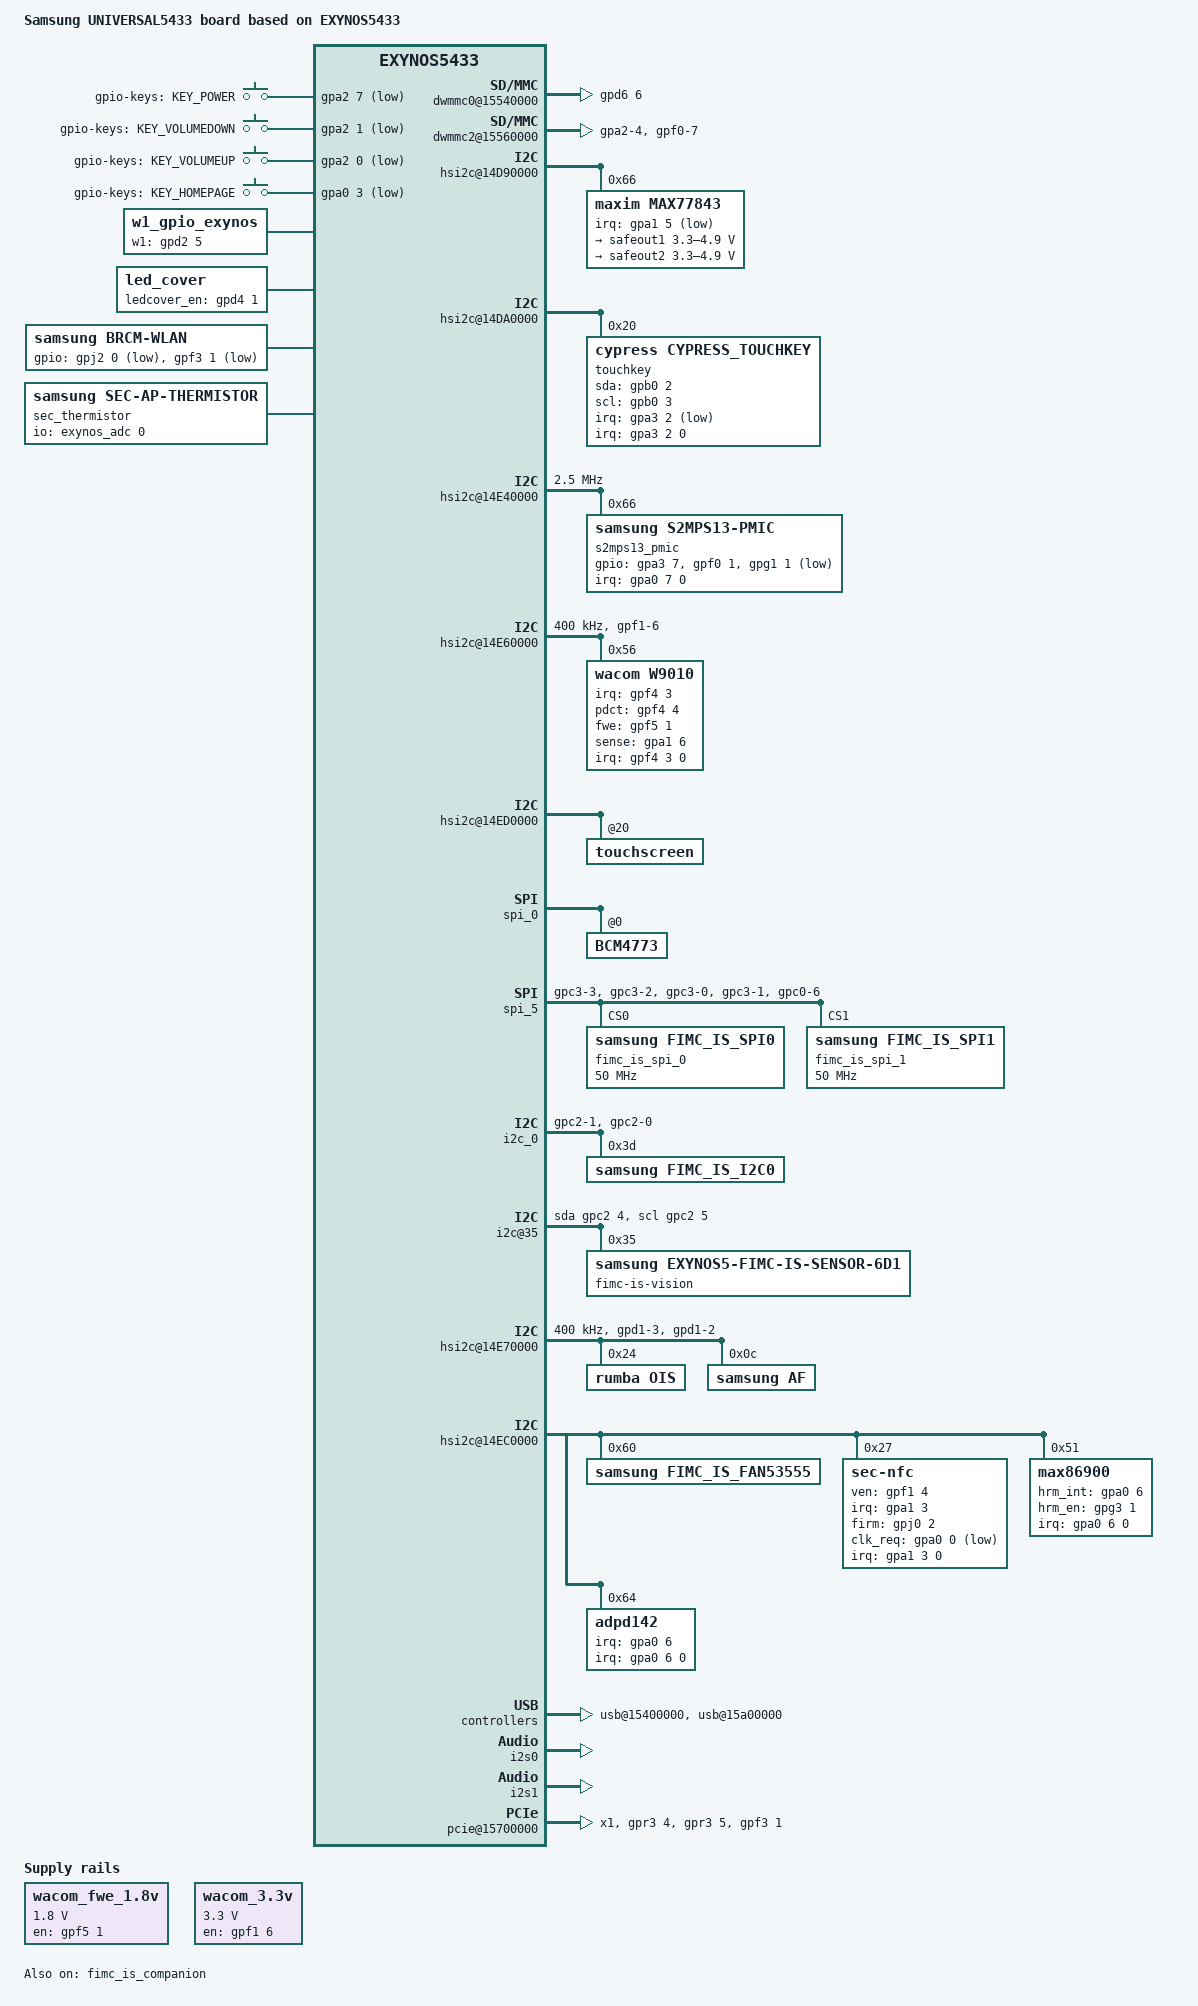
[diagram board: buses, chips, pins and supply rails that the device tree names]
/*
 * SAMSUNG UNIVERSAL5433 board device tree source
 *
 * Copyright (c) 2013 Samsung Electronics Co., Ltd.
 *		http://www.samsung.com
 *
 * This program is free software; you can redistribute it and/or modify
 * it under the terms of the GNU General Public License version 2 as
 * published by the Free Software Foundation.
*/

#include "exynos5433.dtsi"

/ {

	model = "Samsung UNIVERSAL5433 board based on EXYNOS5433";
	compatible = "samsung,UNIVERSAL5433", "samsung,exynos5433";

	aliases {
		spi0 = &spi_0;
		spi1 = &spi_1;
		spi2 = &spi_2;
		spi3 = &spi_3;
		spi4 = &spi_4;
		spi5 = &spi_5;
		spi6 = &spi_6;
	};

	chosen {
		bootargs = "console=ttySAC1,115200 vmalloc=256M";
	};

	fixed-rate-clocks {
		oscclk {
			compatible = "samsung,exynos5433-oscclk";
			clock-frequency = <24000000>;
		};
	};

	dwmmc0@15540000 {
		status = "okay";
		num-slots = <1>;
		broken-cd;
		bypass-smu;
		clock-gate;
		enable-cclk-on-suspend;
		fixed_volt;
		only_once_tune;
		supports-highspeed;
		supports-hs200-1-8v-mode;
		supports-ddr200-1-8v-mode;
		supports-ddr200-enhanced-strobe;
		supports-poweroff-notification;
		device-driver = <1>;
		enable-cache-control;
		enable-no-sleep-cmd;
		use-fine-tuning;
		use-enable-shift;
		enable-ulp-mode;
		ignore-phase = <(1 << 7 | 1 << 6)>;
		extra_tuning;
		bypass-for-allpass;
		desc-size = <4>;
		fifo-depth = <0x80>;
		qos_int_level = <400000>;
		use-enable-shift;
		card-detect-delay = <200>;
		samsung,dw-mshc-ddr200-delay-line = <0x40>;
		samsung,dw-mshc-ddr200-tx-delay-line = <0x30>;
		samsung,dw-mshc-txdt-crc-timer-fastlimit = <0x34>;
		samsung,dw-mshc-txdt-crc-timer-initval = <0x38>;
		samsung,dw-mshc-ciu-div = <3>;
		samsung,dw-mshc-sdr-timing = <3 0 2 0>;
		samsung,dw-mshc-sdr-hs-timing = <3 0 2 1>;
		samsung,dw-mshc-ddr-timing = <3 0 3 2>;
		samsung,dw-mshc-hs200-timing = <3 0 3 0>;
		samsung,dw-mshc-ddr200-timing = <1 0 3 0>;
		samsung,dw-mshc-ddr200-ulp-timing = <3 0 3 0>;
		clk_pin = "gpr0-0";
		clk_addr = "15690000.pinctrl";
		clk_val = <0x3>;
		clk_str_num = <6>;
		num-ref-clks = <10>;
		ciu_clkin = <25 50 50 100 200 100 200 400 400 200>;
		pinctrl-names = "default";
		pinctrl-0 = <&sd0_clk &sd0_cmd &sd0_rdqs &sd0_bus1 &sd0_bus4 &sd0_bus8>;
		gpios = <&gpd6 6 0>;
		slot@0 {
			reg = <0>;
			bus-width = <8>;
		};
	};

	dwmmc1@15550000 {
		status = "disabled";
		num-slots = <1>;
		fixed_volt;
		clock-gate;
		enable-cclk-on-suspend;
		only_once_tune;
		supports-highspeed;
		not-allow-single-dma;
		desc-size = <4>;
		fifo-depth = <0x40>;
		card-detect-delay = <200>;
		qos_int_level = <200000>;
		samsung,dw-mshc-ciu-div = <3>;
		samsung,dw-mshc-sdr-timing = <3 0 2 1>;
		samsung,dw-mshc-ddr-timing = <3 0 3 2>;
		num-ref-clks = <8>;
		ciu_clkin = <25 50 50 100 200 100 200 400>;
		pinctrl-names = "default";
		pinctrl-0 = <&sd1_clk &sd1_cmd &sd1_bus1 &sd1_bus4>;

		slot@0 {
			reg = <0>;
			bus-width = <4>;
		};
	};

	dwmmc2@15560000 {
		status = "okay";
		num-slots = <1>;
		bypass-smu;
		supports-highspeed;
		supports-sdr104-mode;
		clock-gate;
		enable-cclk-on-suspend;
		fix-fmp-size-mismatch;
		not-allow-single-dma;
		desc-size = <4>;
		use-fine-tuning;
		bypass-for-allpass;
		cd-type = <0>;
		fifo-depth = <0x40>;
		card-detect-delay = <200>;
		qos_int_level = <400000>;
		ignore-phase = <(1 << 7)>;
		samsung,dw-mshc-ciu-div = <3>;
		samsung,dw-mshc-sdr-timing = <3 0 2 1>;
		samsung,dw-mshc-ddr-timing = <3 0 3 2>;
		clk_pin = "gpr4-0";
		clk_addr = "15690000.pinctrl";
		clk_val = <0x2>;
		clk_str_num = <6>;
		num-ref-clks = <8>;
		ciu_clkin = <25 50 50 100 200 100 200 400>;
		pinctrl-names = "default", "output";
		pinctrl-0 = <&sd2_clk &sd2_cmd &sd2_bus1 &sd2_bus4 &dwmmc2_cd_ext_irq &dwmmc2_vmmc_en_gpio>;
		pinctrl-1 = <&sd2_clk_output &sd2_cmd_output &sd2_bus1 &sd2_bus4 &dwmmc2_cd_ext_irq &dwmmc2_vmmc_en_gpio>;

		gpio-controller;
		#gpio-cells = <2>;
		cd-gpio = <&gpa2 4 0xf>;

		vmmc-en-gpio = <&gpf0 7 0x1>;

		slot@0 {
			reg = <0>;
			bus-width = <4>;
			disable-wp;
		};
	};

	pinctrl@11090000 {
		dwmmc2_vmmc_en_gpio: dwmmc2-vmmc-en-gpio {
			samsung,pins = "gpf0-7";
			samsung,pin-function = <0x1>;
			samsung,pin-pud = <0>;
		};
	};

	pinctrl@10580000 {
		ok_sw: ok-sw {
			samsung,pins = "gpa0-3";
			samsung,pin-pud = <3>;
			samsung,pin-drv = <0>;
		};
		dwmmc2_cd_ext_irq: dwmmc2_cd_ext_irq {
			samsung,pins = "gpa2-4";
			samsung,pin-function = <0xf>;
			samsung,pin-pud = <0>;
			samsung,pin-drv = <0>;
		};
		pmic_irq: pmic-irq {
			samsung,pins = "gpa0-7";
			samsung,pin-pud = <0>;
			samsung,pin-drv = <3>;
		};
		/* Warm reset information from AP */
		pm_wrsti: pm-wrsti {
			samsung,pins = "gpf5-4";
			samsung,pin-pud = <0>;
			samsung,pin-con-pdn = <3>;
		};

		gpa3_pull_up: gpa3_pull_up_for_smpl {
			samsung,pins = "gpa3-7";
			samsung,pin-function = <0xf>;
			samsung,pin-pud = <3>;
			samsung,pin-drv = <0>;
		};

		ssp_irq: ssp-irq {
			samsung,pins = "gpa3-3";
			samsung,pin-function = <0xf>;
			samsung,pin-pud = <1>;
			samsung,pin-drv = <3>;
		};

		ssp_mcu_req: ssp-mcu-req {
			samsung,pins = "gpf2-3";
			samsung,pin-function = <1>;
			samsung,pin-pud = <1>;
			samsung,pin-drv = <3>;
		};

		ssp_mcu_resp: ssp-mcu-resp {
			samsung,pins = "gpf2-2";
			samsung,pin-function = <0>;
			samsung,pin-pud = <3>;
			samsung,pin-drv = <3>;
		};

		ssp_host_wake: ssp-host-wake {
			samsung,pins = "gpa1-0";
			samsung,pin-function = <0>;
			samsung,pin-pud = <3>;
			samsung,pin-drv = <3>;
		};

		ssp_host_wake_irq: ssp-host-wake-irq {
			samsung,pins = "gpa1-0";
			samsung,pin-function = <0xf>;
			samsung,pin-pud = <1>;
			samsung,pin-drv = <3>;
		};
	};

	pinctrl@14CC0000 {
		ssp_gps_pwr_en: ssp-gps-pwr-en {
			samsung,pins = "gpg2-0";
			samsung,pin-function = <1>;
			samsung,pin-pud = <1>;
			samsung,pin-drv = <3>;
		};
	};

	gpio_keys {
		compatible = "gpio-keys";
		#address-cells = <1>;
		#size-cells = <0>;
		pinctrl-names = "default";
		pinctrl-0 = <&ok_sw>;
		button@1 {
			label = "gpio-keys: KEY_POWER";
			interrupts = <7 0 0>;
			interrupt-parent = <&gpa2>;
			linux,code = <116>;
			gpios = <&gpa2 7 0xf>;
			gpio-key,wakeup = <1>;
		};
		button@2 {
			label = "gpio-keys: KEY_VOLUMEDOWN";
			interrupts = <1 0 0>;
			interrupt-parent = <&gpa2>;
			linux,code = <114>;
			gpios = <&gpa2 1 0xf>;
		};
		button@3 {
			label = "gpio-keys: KEY_VOLUMEUP";
			interrupts = <0 0 0>;
			interrupt-parent = <&gpa2>;
			linux,code = <115>;
			gpios = <&gpa2 0 0xf>;
		};
		button@4 {
			label = "gpio-keys: KEY_HOMEPAGE";
			interrupts = <3 0 0>;
			interrupt-parent = <&gpa0>;
			linux,code = <172>;
			gpios = <&gpa0 3 0xf>;
			gpio-key,wakeup = <1>;
		};
	};

	pinctrl@10580000 {
		fuel_irq: fuel-irq {
			samsung,pins = "gpa1-5";
			samsung,pin-function = <0>;
			samsung,pin-pud = <0>;
			samsung,pin-drv = <0>;
		};
		wc_irq: wc-irq {
			samsung,pins = "gpa3-5";
			samsung,pin-function = <0>;
			samsung,pin-pud = <0>;
			samsung,pin-drv = <0>;
		};
	};

	pinctrl@14CC0000 {
		/* touchkey i2c*/
		cfg_i2c: cfg-i2c {
			samsung,pins = "gpb0-3", "gpb0-2";
			samsung,pin-function = <4>;
			samsung,pin-pud = <0>;
			samsung,pin-drv = <0>;
		};
		cfg_gpio: cfg_gpio {
			samsung,pins = "gpb0-3", "gpb0-2";
			samsung,pin-function = <0>;
			samsung,pin-pud = <0>;
			samsung,pin-drv = <0>;
		};
	};

	pinctrl@10580000 {
		/* touchkey interrupt*/
		cfg_irq: cfg-irq {
			samsung,pins = "gpa3-2";
			samsung,pin-function = <0xf>;
			samsung,pin-pud = <0>;
			samsung,pin-drv = <0>;
		};
		cfg_input: cfg-input {
			samsung,pins = "gpa3-2";
			samsung,pin-function = <0>;
			samsung,pin-pud = <1>;
			samsung,pin-drv = <0>;
		};
	};

	pinctrl@14CE0000 {
		hs_i2c5_bus: hs-i2c5-bus {
			samsung,pins = "gpj1-1", "gpj1-0";
			samsung,pin-function = <4>;
			samsung,pin-pud = <0>;
			samsung,pin-drv = <0>;
			samsung,pin-con-pdn = <2>;
			samsung,pin-pud-pdn = <1>;
		};
	};

	hsi2c@14D90000 {
		max77843@66 {
			compatible = "maxim,max77843";
			reg = <0x66>;
			pinctrl-names = "default";
			pinctrl-0 = <&fuel_irq &vibetonz_pwm &wc_irq>;
			max77843,irq-gpio = <&gpa1 5 1>;
			max77843,wakeup;

			regulators {
				safeout1: ESAFEOUT1 {
					regulator-compatible = "safeout1";
					regulator-name = "safeout1_range";
					regulator-min-microvolt = <3300000>;
					regulator-max-microvolt = <4900000>;
					regulator-boot-on;
				};

				safeout2: ESAFEOUT2 {
					regulator-compatible = "safeout2";
					regulator-name = "safeout2_range";
					regulator-min-microvolt = <3300000>;
					regulator-max-microvolt = <4900000>;
				};
			};
		};
	};

	haptic {
		status = "okay";
		haptic,max_timeout = <10000>;
		haptic,duty = <32448>;
		haptic,period = <33814>;
		haptic,reg2 = <0x82>;
		haptic,pwm_id = <0>;
		haptic,regulator_name = "VCC_3.0V_MOTOR_AP";
	};

	rgb {
		rgb-name = "led_w", "led_r", "led_g", "led_b";
	};

	hall {
		status = "okay";
		compatible = "hall";
		pinctrl-names = "default";
		pinctrl-0 = <&hall_irq>;
		hall,gpio_flip_cover = <&gpa0 1 0>;
	};

	pinctrl@14CC0000 {
		w1_gpio: w1-gpio {
			samsung,pins = "gpd2-5";
			samsung,pin-function = <0>;
			samsung,pin-pud = <0>;
			samsung,pin-drv = <0>;
		};
	};

	w1_gpio_exynos {
		status = "okay";
		compatible = "w1_gpio_exynos";
		pinctrl-names = "default";
		pinctrl-0 = <&w1_gpio>;
		is_open_drain = <1>;
		slave_speed = <1>;
		register_addr = <0x14CC0120>;
		register_num = <5>;
		w1,gpio = <&gpd2 5 0>;
	};

	led_cover {
		compatible = "led_cover";
		ledcover_en,gpio = <&gpd4 1 0>;
	};

	usb_notifier {
		compatible = "samsung,usb-notifier";
	};

	muic {
		status = "disabled";
		muic,support-list = "MHL","OTG","Charging Cable","Jig USB On","Jig UART Off",
				    "Jig UART Off + VB","Jig UART On",
				    "TA","USB","CDP","Undefined Charging",
				    "Unofficial ID","Unofficial ID + TA","Unofficial ID + ANY TA",
				    "Unofficial ID + USB","Unofficial ID + CDP",
				    "Deskdock","Deskdock + VB",
				    "Smartdock","Smartdock + VB","Smartdock + TA","Smartdock + USB",
				    "Fuelgauge test","HMT";
		muic,afcmode-tx = /bits/ 8 <0x46>;
		muic,qc-hv = /bits/ 8 <0x9>;
	};

	hsi2c@14DA0000 {
		status = "okay";
		pinctrl-names = "default","on_i2c","off_i2c";
		pinctrl-0 = <&hs_i2c9_bus>;
		pinctrl-1 = <&cfg_i2c>;
		pinctrl-2 = <&cfg_gpio>;
		touchkey@20 {
			pinctrl-names = "on_irq","off_irq";
			pinctrl-0 = <&cfg_irq>;
			pinctrl-1 = <&cfg_input>;
			compatible = "cypress,cypress_touchkey";
			reg = <0x20>;
			interrupts = <2 0 0>;
			interrupt-parent = <&gpa3>;
			cypress,sda-gpio = <&gpb0 2 0>;
			cypress,scl-gpio = <&gpb0 3 0>;
			cypress,irq-gpio = <&gpa3 2 1>;
			cypress,ic-stabilizing-time = <150>;
			cypress,boot-on-ldo = "true";
			cypress,multi-touchkey-fw-version = <0x11>;
		};
	};

	hsi2c@14E40000 {
		status = "okay";
		samsung,hs-mode;
		clock-frequency = <2500000>;

		s2mps13_pmic@66 {
			compatible = "samsung,s2mps13-pmic";
			reg = <0x66>;
			interrupts = <7 0 0>;
			interrupt-parent = <&gpa0>;
			gpios = <&gpa3 7 0>, <&gpf0 1 0x0>, <&gpg1 1 0x1>;
			smpl_warn_vth = <0x00>; /* 2.3V */
			smpl_warn_en = <1>; /* 1 : enable , 0 : disable*/
			g3d_en = <0>; /* 1 : enable , 0 : disable */
			dvs_en = <1>; /* 1 : enable , 0 : disable */
			/* RTC: wtsr/smpl */
			wtsr_en = <1>; /* enable */
			smpl_en = <1>; /* enable */
			wtsr_timer_val = <3>;	/* 1000ms */
			smpl_timer_val = <4>;	/* 500ms */
			check_jigon = <0>; /* do not check jigon */
			/* RTC: If it's first boot, reset rtc to 1/1/2014 12:00:00(Wed) */
			init_time,sec = <0>;
			init_time,min = <0>;
			init_time,hour = <12>;
			init_time,mday = <1>;
			init_time,mon = <0>;
			init_time,year = <114>;
			init_time,wday = <3>;
		};
	};

	pinctrl@10580000 {
		epen_irq: epen-irq {
			samsung,pins = "gpf4-3", "gpf4-4";
			samsung,pin-function = <0xf>;
			samsung,pin-pud = <0>;
			samsung,pin-drv = <0>;
		};
		epen_input: epen-input {
			samsung,pins = "gpf4-3", "gpf4-4";
			samsung,pin-function = <0>;
			samsung,pin-pud = <1>;
			samsung,pin-drv = <0>;
		};
		epen_sense: epen-sense {
			samsung,pins = "gpa1-6";
			samsung,pin-function = <0xf>;
			samsung,pin-pud = <0>;
			samsung,pin-drv = <0>;
		};
		epen_ldo: epen-ldo {
			samsung,pins = "gpf1-6";
			samsung,pin-function = <1>;
			samsung,pin-pud = <0>;
			samsung,pin-drv = <0>;
		};
		hall_irq: hall-irq {
			samsung,pins = "gpa0-1";
			samsung,pin-function = <0xf>;
			samsung,pin-pud = <0>;
			samsung,pin-drv = <0>;
		};

		hrm_int: hrm-int {
			samsung,pins = "gpa0-6";
			samsung,pin-function = <0>;
			samsung,pin-pud = <0>;
			samsung,pin-drv = <3>;
		};
	};

	wacom_fwe_en {
		compatible = "regulator-fixed";
		regulator-name = "wacom_fwe_1.8v";
		regulator-min-microvolt = <1800000>;
		regulator-max-microvolt = <1800000>;
		gpio = <&gpf5 1 0>;
		enable-active-high;
	};
	wacom_ldo_en {
		compatible = "regulator-fixed";
		regulator-name = "wacom_3.3v";
		regulator-min-microvolt = <3300000>;
		regulator-max-microvolt = <3300000>;
		gpio = <&gpf1 6 0>;
		enable-active-high;
		regulator-boot-on;
	};

	pinctrl@14CC0000 {
		epen_gpio: epen-gpio {
			samsung,pins = "gpd0-3", "gpd0-2";
			samsung,pin-function = <0>;
			samsung,pin-pud = <0>;
			samsung,pin-drv = <0>;
		};
	};

	hsi2c@14E60000 {
		clock-frequency = <400000>;
		status = "okay";
		samsung,scl-clk-stretching;
		samsung,transfer_delay = <50>;
		pinctrl-names = "default", "epen_gpio";
		pinctrl-0 = <&hs_i2c2_bus &epen_ldo>;
		pinctrl-1 = <&epen_gpio>;
		wacom@56 {
			compatible = "wacom,w9010";
			reg = <0x56>;
			pinctrl-names = "on_irq", "off_state";
			pinctrl-0 = <&epen_irq &epen_sense>;
			pinctrl-1 = <&epen_input>;
			interrupts = <3 0 0>;
			interrupt-parent = <&gpf4>;
			/* gpios */
			wacom,irq-gpio = <&gpf4 3 0>;
			wacom,pdct-gpio = <&gpf4 4 0>;
			wacom,fwe-gpio = <&gpf5 1 0>;
			wacom,sense-gpio = <&gpa1 6 0>;
			wacom,irq_type = <2>;	/*IRQF_TRIGGER_FALLING*/
			/* features */
			wacom,max_coords = <12544 7056>;
			wacom,origin = <0 0>;
			wacom,max_pressure = <2047>;
			wacom,project_name = "TRE", "N910";
			wacom,invert = <1 0 1>; /* x y switch */
			wacom,fw_path = "epen/W9012_T.bin";
			wacom,ic_type = <9012>;
			wacom,boot_on_ldo = <1>;
		};
	};
	i2c@09 {
		compatible = "i2c-gpio";
		gpios = <&gpd0 2 0 &gpd0 3 0>;
		i2c-gpio,delay-us = <2>;
		#address-cells = <1>;
		#size-cells = <0>;
		status = "disabled";
		wacom@09 {
			compatible = "wacom,flash";
			reg = <0x09>;
			interrupts = <3 0 0>;
			interrupt-parent = <&gpf4>;
		};
	};

	hsi2c@14ED0000 {
		status = "okay";
		touchscreen@20 {
			stm,grip_area = <160>;
		};
	};

	ion {
		compatible = "samsung,exynos5430-ion";

		contig-names = "common",
			       "video_ext",
			       "mfc_sh",
			       "g2d_wfd",
			       "video",
			       "sectbl",
			       "mfc_fw",
			       "mfc_nfw",
			       "secdma";

		contig = <0 0x600000 0x0>,
		         <1 0x600000 0x0>,
		         <2 0x100000 0x0>,
		         <10 0x800000 0x0>,
		         <11 0xA800000 0x0>,
		         <9 0x100000 0x0>,
		         <8 0x200000 0x0>,
		         <12 0x200000 0x0>,
		         <13 0x20000 0x0>;

		contig-isolate_on_boot = <0>, <1>, <2>, <8>,
					  <9>, <10>, <11>, <12>, <13>;

		secure = <11>, <9>, <8>, <1>;

		ion_noncontig_heap {
			id-type = <0 0>;
		};

		exynos_contig_heap {
			id-type = <4 6>;
		};
	};

	pinctrl@10580000 {
		disp_pcd: disp_pcd {
			samsung,pins = "gpa0-5";
			samsung,pin-function = <0xf>;
			samsung,pin-pud = <1>;
		};
		disp_id: disp_id {
			samsung,pins = "gpf2-1";
			samsung,pin-function = <0>;
			samsung,pin-pud = <1>;
		};
	};

	pinctrl@14CC0000 {
		disp_errfg: disp_errfg {
			samsung,pins = "gpb0-4";
			samsung,pin-function = <0xf>;
			samsung,pin-pud = <1>;
		};
		disp_errfg_off: disp_errfg_off {
			samsung,pins = "gpb0-4";
			samsung,pin-function = <1>;
			samsung,pin-pud = <1>;
			samsung,pin-val = <0>;
		};
	};

	/* disp_driver */
	decon_fb: decon_fb {
		oled-id-gpio = <&gpf2 1 0x0>;
		oled-pcd-gpio = <&gpa0 5 0xf>;
		oled-errfg-gpio = <&gpb0 4 0xf>;
		lcd_info = <&s6e3ha2>;
		decon_board = <&decon_board_list>;

		pinctrl-names = "default", "turnon_tes", "turnoff_tes", "errfg_off";
		pinctrl-0 = <&disp_id &disp_pcd &disp_errfg>;
		pinctrl-1 = <&disp_id &disp_pcd &disp_errfg &disp_teson>;
		pinctrl-2 = <&disp_id &disp_tesoff>;
		pinctrl-3 = <&disp_id &disp_pcd &disp_errfg_off &disp_teson>;
		decon: decon_ctrl {
			samsung,max_bpp = <32>;
			samsung,default_bpp = <24>;

			fb_driver_data {
				fb_win_variant_0 {
					has_osd_c = <1>;
					has_osd_d = <1>;
					osd_size_off = <0x08>;
					palette_size = <256>;
					VALID_BPP_1248 = <1>;
					VALID_BPP_13 = <1>;
					VALID_BPP_15 = <1>;
					VALID_BPP_16 = <1>;
					VALID_BPP_18 = <1>;
					VALID_BPP_19 = <1>;
					VALID_BPP_24 = <1>;
					VALID_BPP_25 = <1>;
					VALID_BPP_32 = <1>;
				};
				fb_win_variant_1 {
					has_osd_c = <1>;
					has_osd_d = <1>;
					has_osd_alpha = <1>;
					osd_size_off = <0x0c>;
					palette_size = <256>;
					VALID_BPP_1248 = <1>;
					VALID_BPP_13 = <1>;
					VALID_BPP_15 = <1>;
					VALID_BPP_16 = <1>;
					VALID_BPP_18 = <1>;
					VALID_BPP_19 = <1>;
					VALID_BPP_24 = <1>;
					VALID_BPP_25 = <1>;
					VALID_BPP_32 = <1>;
				};
				fb_win_variant_2 {
					has_osd_c = <1>;
					has_osd_d = <1>;
					has_osd_alpha = <1>;
					osd_size_off = <0x0c>;
					palette_size = <256>;
					VALID_BPP_1248 = <1>;
					VALID_BPP_13 = <1>;
					VALID_BPP_15 = <1>;
					VALID_BPP_16 = <1>;
					VALID_BPP_18 = <1>;
					VALID_BPP_19 = <1>;
					VALID_BPP_24 = <1>;
					VALID_BPP_25 = <1>;
					VALID_BPP_32 = <1>;
				};
				fb_win_variant_3 {
					has_osd_c = <1>;
					has_osd_alpha = <1>;
					palette_size = <256>;
					VALID_BPP_1248 = <1>;
					VALID_BPP_13 = <1>;
					VALID_BPP_15 = <1>;
					VALID_BPP_16 = <1>;
					VALID_BPP_18 = <1>;
					VALID_BPP_19 = <1>;
					VALID_BPP_24 = <1>;
					VALID_BPP_25 = <1>;
					VALID_BPP_32 = <1>;
				};
				fb_win_variant_4 {
					has_osd_c = <1>;
					has_osd_alpha = <1>;
					palette_size = <256>;
					VALID_BPP_1248 = <1>;
					VALID_BPP_13 = <1>;
					VALID_BPP_15 = <1>;
					VALID_BPP_16 = <1>;
					VALID_BPP_18 = <1>;
					VALID_BPP_19 = <1>;
					VALID_BPP_24 = <1>;
					VALID_BPP_25 = <1>;
					VALID_BPP_32 = <1>;
				};
			};
		};

		mipi_dsi: mipi_dsi {
			/* Interface definition: 0 - DSIM_COMMAND,
						 1 - DSIM_VIDEO */
			e_interface = <0>;

			/* Pixel format : 0 - DSIM_CMD_3BPP,
					  1 - DSIM_CMD_8BPP,
					  2 - DSIM_CMD_12BPP,
					  3 - DSIM_CMD_16BPP,
					  4 - DSIM_VID_16BPP_565,
					  5 - DSIM_VID_18BPP_666PACKED,
					  6 - DSIM_18BPP_666LOOSELYPACKED,
					  7 - DSIM_24BPP_888 */
			e_pixel_format = <7>;

			/* main frame fifo auto flush at VSYNC pulse */
			auto_flush = <0>;
			eot_disable = <1>;
			auto_vertical_cnt = <0>;
			hse = <0>;
			hfp = <0>;
			hbp = <0>;
			hsa = <0>;

			/* num of data lane : 0 - DSIM_DATA_LANE_1,
					      1 - DSIM_DATA_LANE_2,
					      2 - DSIM_DATA_LANE_3,
					      3 - DSIM_DATA_LANE_4 */
			e_no_data_lane = <3>;
			/* byte clock divider : 0 - DSIM_PLL_OUT_DIV8,
						1 - DSIM_EXT_CLK_DIV8,
						2 - DSIM_EXT_CLK_BYPASS */
			e_byte_clk = <0>;
			/* Burst mode : 0 - DSIM_NON_BURST_SYNC_EVENT,
					2 - DSIM_NON_BURST_SYNC_PULSE,
					1 - DSIM_BURST
					4 - DSIM_NON_VIDEO_MODE */
			e_burst_mode = <1>;

			/* D-PHY PLL stable time spec :min = 200usec ~ max 400usec */
			pll_stable_time = <500>;
			/* escape clk : 7MHz */
			esc_clk = <7000000>;
			/* stop state holding counter after bta change count 0 ~ 0xfff */
			stop_holding_cnt = <0x0fff>;
			/* bta timeout 0 ~ 0xff */
			bta_timeout = <0xff>;
			/* lp rx timeout 0 ~ 0xffff */
			rx_timeout = <0xffff>;
		};
		decon_mic: decon_mic {
			sysreg1 = <0x13B81004>;
			sysreg2 = <0x13B81048>;
		};
		s6e3ha2: s6e3ha2_wqhd {
			mode = <0>;
			resolution = <1440 2560>;
			size = <71 125>;
			timing,refresh = <60>;
			timing,h-porch = <1 1 1>;
			timing,v-porch = <15 1 1>;
			timing,dsi-hs-clk = <1024>;
			timing,dsi-escape-clk = <16>;
			timing,hsync-2h-cycle = <1>;
			mic = <1>;
		};

		decon_board_list: decon_board_list {
			enable_display_driver_power {
				type = "regulator,enable", "gpio,high", "regulator,enable", "delay,usleep", "pinctrl,default", "pinctrl,turnon_tes";
				gpios = <&gpf1 5 0x1>;
				delay = <10000 11000>;
				regulator = "VCC_1.8V_LCD_AP", "VCC_3.0V_LCD_AP";
			};
			disable_display_driver_power {
				type = "gpio,low", "regulator,disable", "gpio,low", "delay,usleep", "regulator,disable", "pinctrl,turnoff_tes";
				gpios = <&gpv7 2 0x1>, <&gpf1 5 0x1>;
				delay = <3000 5000>;
				regulator = "VCC_3.0V_LCD_AP", "VCC_1.8V_LCD_AP";
			};
			reset_display_driver_panel {
				type = "gpio,high", "delay,usleep", "gpio,low", "delay,usleep", "gpio,high", "delay,usleep";
				gpios = <&gpv7 2 0x1>, <&gpv7 2 0x1>, <&gpv7 2 0x1>;
				delay = <5000 6000>, <5000 6000>, <10000 11000>;
			};
		};
	};

	spi_0: spi@14d20000 {
		BCM4773@0 {
			ssp,prox-cal_hi_thresh = <120>;
			ssp,prox-cal_low_thresh = <55>;
		};
	};

	spi_5: spi@141a0000 {
		clocks = <&clock 2626>, <&clock 4083>; /* Workaround for SPI read in A5 */
		clock-names = "spi", "spi_busclk0";    /* Must be removed later */
		#address-cells = <1>;
		#size-cells = <0>;
		pinctrl-names ="default";
		pinctrl-0 = <&fimc_is_spi_pin0 &fimc_is_spi_ssn0>;

		num-cs = <2>;

		fimc_is_spi_0@0 {
			compatible = "samsung,fimc_is_spi0";
			spi-max-frequency = <50000000>;
			reg = <0x0>;

			controller-data {
				cs-gpio = <&gpc0 6 0>;
				samsung,spi-feedback-delay = <2>;
			};
		};

		fimc_is_spi_1@1 {
			compatible = "samsung,fimc_is_spi1";
			fimc_is_spi_sclk = "gpc3-0";
			fimc_is_spi_ssn = "gpc3-1";
			fimc_is_spi_miso = "gpc3-2";
			fimc_is_spi_mois = "gpc3-3";
			spi-max-frequency = <50000000>;
			reg = <0x1>;
			pinctrl-names = "default";
			pinctrl-0 = <&fimc_is_comp_int>;

			controller-data {
				cs-gpio = <&gpc3 1 0>;
				samsung,spi-feedback-delay = <3>;
			};
		};
	};

	spi_6: spi@141b0000 {
		status = "disabled";
	};

	i2c_0: i2c@14130000 {
            compatible = "samsung,exynos5430-fimc-i2c";
            reg = <0x14130000 0x1000>;
            interrupts = <0 166 0>; /* NON */
            #address-cells = <1>;
            #size-cells = <0>;
            pinctrl-names = "default";
            pinctrl-0 = <&fimc_is_i2c_0>;
            clocks = <&clock 4184>, <&clock 4184>; /* No clock gating */
            clock-names = "rate_i2c","gate_i2c";
            samsung,i2c-sda-delay = <100>;
            samsung,i2c-max-bus-freq = <400000>;
            status = "okay";

            fimc_is_i2c0@3d {
                    compatible = "samsung,fimc_is_i2c0";
                    reg = <0x3d>;
            };
    };

	i2c@35{
		compatible = "i2c-gpio";
		gpios = <&gpc2 4 0 /* sda */
		         &gpc2 5 0 /* scl */
		        >;
		i2c-gpio,delay-us = <2>;
		#address-cells = <1>;
		#size-cells = <0>;
		status = "okay";

		fimc-is-vision@35 {
			compatible = "samsung,exynos5-fimc-is-sensor-6d1";
			reg = <0x35>;
		};
	};

	hsi2c@14E70000 {
		status = "okay";
		clock-frequency = <400000>;
		pinctrl-names = "default","on_i2c","off_i2c";
		pinctrl-0 = <&fimc_is_hsi2c_off>;
		pinctrl-1 = <&fimc_is_ois_hsi2c_on>;
		pinctrl-2 = <&fimc_is_hsi2c_off>;
		ois@24{
			compatible = "rumba,ois";
			reg = <0x24>;
		};

		af@0c{
			compatible = "samsung,af";
			reg = <0x0c>;
		};
	};

	hsi2c@14EC0000 {
		status = "okay";
		fimc_is_fan53555@60 {
			compatible = "samsung,fimc_is_fan53555";
			reg = <0x60>;
			comp_en = <&gpf1 7 0x01>;
			status = "okay";
		};
		sec-nfc@27 {
			compatible = "sec-nfc";
			reg = <0x27>;

			interrupts = <3 0 0>;
			interrupt-parent = <&gpa1>;

			sec-nfc,ven-gpio = <&gpf1 4 0>;
			sec-nfc,irq-gpio = <&gpa1 3 0>;
			sec-nfc,firm-gpio = <&gpj0 2 0>;
			sec-nfc,clk_req-gpio = <&gpa0 0 0xf>;
			sec-nfc,clk_use = <2>;
			pinctrl-names = "default";
			pinctrl-0 = <&fimc_is_ch1_mclk &nfc_n5_en>;
			clock-names = "sclk_isp_sensor1",
						"mout_sclk_isp_sensor1",
						"dout_sclk_isp_sensor1_a",
						"dout_sclk_isp_sensor1_b",
						"gate_top_cam1";
			clocks = <&clock 34>,
					<&clock 3067>,
					<&clock 4092>,
					<&clock 4093>,
					<&clock 2780>;
		};
		max86900@51 {
			compatible = "max86900";
			reg = <0x51>;
			interrupt-parent = <&gpa0>;
			interrupts = <6 0 0>;
			max86900,hrm_int-gpio = <&gpa0 6 0>;
			max86900,vdd_1p8 = "V_HRM_1.8V";
			max86900,led_3p3 = "V_IRLED_3.3V";
			max86900,hrm_en-gpio = <&gpg3 1 0>;
			max86900,dual-hrm = <1>;
		};

		adpd142@64 {
			compatible = "adpd142";
			reg = <0x64>;
			interrupt-parent = <&gpa0>;
			interrupts = <6 0 0>;
			adpd142,irq_gpio = <&gpa0 6 0>;
			adpd142,led_en = <&gpg3 1 0>;
			adpd142,vdd_1p8 = "V_HRM_1.8V";
			adpd142,led_3p3 = "V_IRLED_3.3V";
			adpd142,dual-hrm = <1>;
		};
	};

	/* Companion driver */
	fimc_is_companion: fimc_is_companion@14180000 {
		compatible = "samsung,exynos5-fimc-is-companion";
		samsung,power-domain = <&pd_cam1>;
		clock-names =
			/* SENSOR0 MCLK */
			"sclk_isp_sensor0",		/* 33 */
			"mout_sclk_isp_sensor0",	/* 3066 */
			"dout_sclk_isp_sensor0_a",	/* 4090 */
			"dout_sclk_isp_sensor0_b",	/* 4091 */

			"mout_bus_pll_user",		/* 3010 */
			"oscclk",			/* 5000 */

			/* SPI-ISP */
			"sclk_isp_spi0_top",		/* 30 */
			"sclk_isp_spi1_top",		/* 31 */
			"mout_sclk_isp_spi0",		/* 3063 */
			"mout_sclk_isp_spi1",		/* 3064 */

			"gate_isp_spi1",		/* 2625 */
			"gate_isp_spi0",		/* 2626 */
			"dout_sclk_isp_spi0_a",		/* 4080 */
			"dout_sclk_isp_spi0_b",		/* 4081 */
			"dout_sclk_isp_spi1_a",		/* 4082 */
			"dout_sclk_isp_spi1_b",		/* 4083 */

			"mout_sclk_isp_spi0_user",	/* 3180 */
			"mout_sclk_isp_spi1_user",	/* 3181 */

			/* CMU TOP */
			"dout_aclk_cam1_333",		/* 4047 */

			/* USER_MUX_SEL */
			"aclk_cam1_333",		/* 342 */
			"mout_aclk_cam1_333_user",	/* 3225 */

			/* MPWM */
			"dout_pclk_cam1_166",		/* 4183 */
			"dout_pclk_cam1_83",		/* 4184 */
			"dout_sclk_isp_mpwm";		/* 4185 */
		clocks =
			/* SENSOR0 MCLK */
			<&clock 33>,
			<&clock 3066>,
			<&clock 4090>,
			<&clock 4091>,

			<&clock 3010>,
			<&clock 5000>,

			/* SPI-ISP */
			<&clock 30>,
			<&clock 31>,
			<&clock 3063>,
			<&clock 3064>,

			<&clock 2625>,
			<&clock 2626>,
			<&clock 4080>,
			<&clock 4081>,
			<&clock 4082>,
			<&clock 4083>,

			<&clock 3180>,
			<&clock 3181>,

			/* CMU TOP */
			<&clock 4047>,

			/* USER_MUX_SEL */
			<&clock 342>,
			<&clock 3225>,

			/* MPWM */
			<&clock 4183>,
			<&clock 4184>,
			<&clock 4185>;
		pinctrl-names ="default", "ch0", "af0", "off0";
		pinctrl-0 = <&fimc_is_ch0_mclk_off>;
		pinctrl-1 = <&fimc_is_ch0_mclk>;
		pinctrl-2 = <&fimc_is_ch0_mclk>;
		pinctrl-3 = <&fimc_is_ch0_mclk_off>;

		scenario = <0>;
		mclk_ch = <0>;
		sensor_id = <104>;

		gpios_cam_en = <&gpf4 7 0x1>;
		gpio_reset = <&gpc0 4 0x1>;
		gpios_comp_en = <&gpf1 7 0x1>; /* COMP_EN */
		gpios_comp_reset = <&gpf5 7 0x1>; /* COMP_rstn */
		gpios_ois_en = <&gpf4 6 0>; /*OIS_EN*/

		status = "okay";
	};

	fimc_is_sensor0: fimc_is_sensor@12100000 {
		scenario = <0>;
		gpio_reset = <&gpc0 4 0x1>;
		id = <0>;
		mclk_ch = <0>;
		csi_ch = <0>;
		flite_ch = <0>;
		i2c_ch = <0x010100>;
		i2c_addr = <0x483434>;
		flash_first_gpio = <1>;
		flash_second_gpio = <2>;
		sensor_name = "imx240";
		sensor_id = <104>;
		is_bns = <1>;
		status = "okay";
	};

	fimc_is_sensor1: fimc_is_sensor@12110000 {
		pinctrl-names ="default", "ch1", "off1";
		pinctrl-0 = <&fimc_is_ch2_mclk_off>;
		pinctrl-1 = <&fimc_is_ch2_i2c &fimc_is_ch2_mclk>;
		pinctrl-2 = <&fimc_is_ch2_mclk_off &fimc_is_ch2_i2c_off>;

		scenario = <0>;
		gpio_reset = <&gpc0 3 0x1>;
		gpio_standby = <&gpc0 0 0x1>;
		id = <1>;
		mclk_ch = <2>;
		csi_ch = <1>;
		flite_ch = <1>;
		i2c_ch = <0x2>;
		i2c_addr = <0x6A>;
		sensor_name = "6d1";
		sensor_id = <16>;
		is_bns = <0>;
		status = "okay";
	};

	leds_ktd2692 {
		compatible = "ktd2692";
		flash_control = <&gpc0 1 0x1>;
		status = "okay";
		pinctrl-names ="default","host","is";
		pinctrl-0 = <&fimc_is_flash_is>;
		pinctrl-1 = <&fimc_is_flash_host>;
		pinctrl-2 = <&fimc_is_flash_is>;
	};

	fimc_is@14000000 {
		interrupts = <0 165 0>; /* Remove ISP_GIC to use FIMC IS i2c channel in host */
		companion_spi_channel = <0>;
		use_vision = <1>;
		use_sensor_dynamic_voltage_mode = <1>;
		use_ois;
		use_ois_hsi2c;
		use_module_check;
		/delete-property/ pinctrl-names;
		/delete-property/ pinctrl-0;

		total_camera_num = <2>;
		camera_info0 {				// 0 : rear
			isp = <0>;				/* 0 : INT , 1 : EXT , 2 : SOC */
			cal_memory = <1>;		/* 0 : N , 1 : FROM , 2 : EEPROM , 3 : OTP  */
			read_version = <0>;		/* 0 : SYSFS , 1 : CAMON */
			core_voltage = <1>;		/* 0 : N , 1 : Y  */
			upgrade = <0>;			/* 0 : N , 1 : SYSFS , 2 : CAMON */
			companion_chip = <1>;	/* 0 : N , 1 : Y  */
			ois = <1>;				/* 0 : N , 1 : Y  */
		};
		camera_info1 {				// 1 : front
			isp = <0>;				/* 0 : INT , 1 : EXT , 2 : SOC */
			cal_memory = <0>;		/* 0 : N , 1 : FROM , 2 : EEPROM , 3 : OTP  */
			read_version = <0>;		/* 0 : SYSFS , 1 : CAMON */
			core_voltage = <0>;		/* 0 : N , 1 : Y  */
			upgrade = <0>;			/* 0 : N , 1 : SYSFS , 2 : CAMON */
			companion_chip = <0>;	/* 0 : N , 1 : Y  */
			ois = <0>;				/* 0 : N , 1 : Y  */
		};

		fimc_is_dvfs {
			default_int = <400000>; /* L0 */
			default_cam = <777000>; /* L0 */
			default_mif = <825000>; /* L0 */
			default_i2c = <0>;

			front_preview_int = <267000>; /* L2 */
			front_preview_cam = <111000>; /* L9 */
			front_preview_mif = <543000>; /* L2 */
			front_preview_i2c = <0>;

			front_capture_int = <267000>; /* L2 */
			front_capture_cam = <111000>; /* L9 */
			front_capture_mif = <543000>; /* L2 */
			front_capture_i2c = <0>;

			front_camcording_int = <267000>; /* L2 */
			front_camcording_cam = <111000>; /* L9 */
			front_camcording_mif = <543000>; /* L2 */
			front_camcording_i2c = <0>;

			front_vt1_int = <200000>; /* L3 */
			front_vt1_cam = <111000>; /* L9 */
			front_vt1_mif = <543000>; /* L2 */
			front_vt1_i2c = <0>;

			front_vt2_int = <200000>; /* L3 */
			front_vt2_cam = <111000>; /* L9 */
			front_vt2_mif = <543000>; /* L2 */
			front_vt2_i2c = <0>;

			rear_preview_fhd_bns_off_int = <267000>; /* L2 */
			rear_preview_fhd_bns_off_cam = <200000>; /* L8 */
			rear_preview_fhd_bns_off_mif = <543000>; /* L2 */
			rear_preview_fhd_bns_off_i2c = <0>;

			rear_preview_fhd_int = <267000>; /* L2 */
			rear_preview_fhd_cam = <333000>; /* L6 */
			rear_preview_fhd_mif = <543000>; /* L2 */
			rear_preview_fhd_i2c = <0>;

			rear_preview_whd_int = <334000>; /* L1 */
			rear_preview_whd_cam = <600000>; /* L2 */
			rear_preview_whd_mif = <667000>; /* L1 */
			rear_preview_whd_i2c = <0>;

			rear_preview_uhd_int = <400000>; /* L0 */
			rear_preview_uhd_cam = <666000>; /* L1 */
			rear_preview_uhd_mif = <825000>; /* L0 */
			rear_preview_uhd_i2c = <0>;

			rear_capture_int = <400000>; /* L0 */
			rear_capture_cam = <777000>; /* L0 */
			rear_capture_mif = <667000>; /* L1 */
			rear_capture_i2c = <0>;

			rear_camcording_fhd_bns_off_int = <267000>; /* L2 */
			rear_camcording_fhd_bns_off_cam = <580000>; /* L3 */
			rear_camcording_fhd_bns_off_mif = <543000>; /* L2 */
			rear_camcording_fhd_bns_off_i2c = <0>;

			rear_camcording_fhd_int = <267000>; /* L2 */
			rear_camcording_fhd_cam = <555000>; /* L4 */
			rear_camcording_fhd_mif = <543000>; /* L2 */
			rear_camcording_fhd_i2c = <0>;

			rear_camcording_whd_int = <334000>; /* L1 */
			rear_camcording_whd_cam = <600000>; /* L2 */
			rear_camcording_whd_mif = <667000>; /* L1 */
			rear_camcording_whd_i2c = <0>;

			rear_camcording_uhd_int = <400000>; /* L0 */
			rear_camcording_uhd_cam = <666000>; /* L1 */
			rear_camcording_uhd_mif = <825000>; /* L0 */
			rear_camcording_uhd_i2c = <0>;

			dual_preview_int = <334000>; /* L1 */
			dual_preview_cam = <444000>; /* L5 */
			dual_preview_mif = <825000>; /* L0 */
			dual_preview_i2c = <0>;

			dual_capture_int = <400000>; /* L0 */
			dual_capture_cam = <777000>; /* L4 */
			dual_capture_mif = <825000>; /* L0 */
			dual_capture_i2c = <0>;

			dual_camcording_int = <334000>; /* L1 */
			dual_camcording_cam = <444000>; /* L5 */
			dual_camcording_mif = <825000>; /* L0 */
			dual_camcording_i2c = <0>;

			high_speed_fps_int = <400000>; /* L0 */
			high_speed_fps_cam = <222000>; /* L7 */
			high_speed_fps_mif = <825000>; /* L0 */
			high_speed_fps_i2c = <0>;

			dis_enable_int = <400000>; /* L0 */
			dis_enable_cam = <777000>; /* L0 */
			dis_enable_mif = <825000>; /* L0 */
			dis_enable_i2c = <0>;

			max_int = <400000>; /* L0 */
			max_cam = <777000>; /* L0 */
			max_mif = <825000>; /* L0 */
			max_i2c = <0>;
		};
	};

	pinctrl@14CC0000 {
		fimc_is_ch0_i2c: fimc-is-ch0_i2c {
			samsung,pins = "gpc2-1", "gpc2-0";
			samsung,pin-function = <2>;
			samsung,pin-pud = <0>;
			samsung,pin-drv = <3>;
		};
		fimc_is_ch1_i2c: fimc-is-ch1-i2c {
			samsung,pins = "gpc2-3", "gpc2-2";
			samsung,pin-function = <2>;
			samsung,pin-pud = <0>;
			samsung,pin-drv = <3>;
		};
		fimc_is_i2c_0: fimc-is-i2c-0 {
			samsung,pins = "gpc2-1", "gpc2-0";
			samsung,pin-function = <2>;
			samsung,pin-pud = <0>;
			samsung,pin-drv = <3>;
		};
		fimc_is_flash: fimc-is-flash {
			samsung,pins = "gpc0-2", "gpc0-1";
			samsung,pin-function = <2>;
			samsung,pin-pud = <0>;
			samsung,pin-drv = <0>;
		};
		fimc_is_flash_host: fimc-is-flash-host {
			samsung,pins = "gpc0-1";
			samsung,pin-function = <1>;
			samsung,pin-pud = <1>;
			samsung,pin-drv = <0>;
		};
		fimc_is_flash_is: fimc-is-flash-is {
			samsung,pins = "gpc0-1";
			samsung,pin-function = <2>;
			samsung,pin-pud = <1>;
			samsung,pin-drv = <0>;
		};
		fimc_is_comp_int: fimc-is-comp-int {
			samsung,pins = "gpc1-0";
			samsung,pin-function = <3>;
			samsung,pin-pud = <1>;
			samsung,pin-drv = <0>;
		};
		fimc_is_ois: fimc-is-ois {
			samsung,pins = "gpc2-3", "gpc2-2";
			samsung,pin-function = <1>;
			samsung,pin-pud = <0>;
			samsung,pin-drv = <0>;
		};
		uart1_bus: uart1-bus {
			samsung,pins = "gpd1-1", "gpd1-0";
			samsung,pin-function = <2>;
			samsung,pin-pud = <0>;
		};
		uart2_bus: uart2-bus {
			samsung,pins = "gpd1-4", "gpd1-5";
			samsung,pin-function = <2>;
			samsung,pin-pud = <0>;
		};
		fimc_is_ch0_mclk: fimc-is-ch0_mclk {
			samsung,pin-drv = <2>;
		};
		fimc_is_ch0_mclk_off: fimc-is-ch0_mclk_off {
			samsung,pins = "gpd7-0";
			samsung,pin-function = <1>;
			samsung,pin-pud = <1>;
			samsung,pin-drv = <2>;
		};
		fimc_is_vision_i2c: fimc-is-vision-i2c {
			samsung,pins = "gpd1-3", "gpd1-2";
			samsung,pin-function = <3>;
			samsung,pin-pud = <0>;
			samsung,pin-drv = <6>;
		};
		fimc_is_vision_gpio_i2c: fimc-is-vision-gpio-i2c {
			samsung,pins = "gpd1-3", "gpd1-2";
			samsung,pin-function = <0>;
			samsung,pin-pud = <0>;
			samsung,pin-drv = <0>;
		};
		fimc_is_ch2_i2c: fimc-is-ch2-i2c {
			samsung,pins = "gpc2-5", "gpc2-4";
			samsung,pin-function = <2>;
			samsung,pin-pud = <0>;
			samsung,pin-drv = <6>;
		};
		fimc_is_ch2_mclk: fimc-is-ch2-mclk {
			samsung,pin-drv = <2>;
		};
		fimc_is_ch2_mclk_off: fimc-is-ch2_mclk_off {
			samsung,pins = "gpd7-2";
			samsung,pin-function = <1>;
			samsung,pin-pud = <1>;
			samsung,pin-drv = <2>;
		};
		fimc_is_spi_pin0: fimc-is-spi-pin0 {
			samsung,pins = "gpc3-3", "gpc3-2", "gpc3-0";
			samsung,pin-function = <0>;
			samsung,pin-pud = <1>;
			samsung,pin-drv = <2>;
		};
		fimc_is_spi_ssn0: fimc-is-spi-ssn0 {
			samsung,pins = "gpc3-1", "gpc0-6";
			samsung,pin-function = <0>;
			samsung,pin-pud = <0>;
			samsung,pin-drv = <2>;
		};
		fimc_is_ois_hsi2c_on: fimc-is-ois-hsi2c-on {
			samsung,pins = "gpd1-3", "gpd1-2";
			samsung,pin-function = <3>;
			samsung,pin-pud = <0>;
			samsung,pin-drv = <0>;
		};
		fimc_is_hsi2c_off: fimc-is-hsi2c-off {
			samsung,pins = "gpd1-3", "gpd1-2";
			samsung,pin-function = <0>;
			samsung,pin-pud = <0>;
			samsung,pin-drv = <3>;
		};
		fimc_is_ch1_i2c_off: fimc-is-ch1-i2c-off {
			samsung,pins = "gpc2-3", "gpc2-2";
			samsung,pin-function = <0>;
			samsung,pin-pud = <0>;
			samsung,pin-drv = <3>;
		};
		fimc_is_ch2_i2c_off: fimc-is-ch2-i2c-off {
			samsung,pins = "gpc2-5", "gpc2-4";
			samsung,pin-function = <0>;
			samsung,pin-pud = <0>;
			samsung,pin-drv = <6>;
		};
	};

	usb@15400000 {
		status = "okay";
		/* using gpio (1:use, 0:not use) */
		is_gpio = <0>;

		dwc3 {
			maximum-speed = "high-speed";
			dr_mode = "otg";
			adj-sof-accuracy;
		};
	};

	usb@15a00000 {
		status = "okay";
		/* using gpio (1:use, 0:not use) */
		is_gpio = <0>;

		dwc3 {
			maximum-speed = "high-speed";
			dr_mode = "otg";
		};
	};

	mipi-lli@10F24000 {
		modem-name = "xmm7260";
		modems {
			ss300 {
				/* disable scrambler */
				scrambler = <0>;
				/* do not control automode by AP */
				automode = <0>;
			};

			xmm7260 {
				/* disable scrambler */
				scrambler = <0>;
				/* do not control automode by AP */
				automode = <0>;
			};
		};

		mphy {
			modem-name = "xmm7260";
			modems {
				ss300 {
					/* initial-gear is HS-G1 */
					init-gear = <2 1 1>;
					/* use shared reference clock for MPHY */
					shd-refclk = <1>;
				};

				xmm7260 {
					/* initial-gear is HS-G1 */
					init-gear = <2 1 1>;
					/* use shared reference clock for MPHY */
					shd-refclk = <1>;
				};
			};
		};
	};

	hdmi@13970000 {
		/* all bit clock supports: 1, not support: 0 */
		audio_master_clk = <0>;
		gpios = <&gpa3 0 0xf>;
	};

	ipa_pdata {
		compatible = "samsung,exynos-ipa";

		control_temp = <81>;
		temp_threshold = <30>;
		enabled = <1>;
		tdp = <3500>;
		boost = <1>;
		ros_power = <500>;
		a7_weight = <1024>;
		a15_weight = <256>;
		gpu_weight = <256>;
		a7_max_power = <1000>;
		a15_max_power = <6552>;
		gpu_max_power = <3110>;
		hotplug_out_threshold = <10>;
		hotplug_in_threshold = <0>;
		enable_ctlr = <1>;
		ctlr.mult = <2>;
		ctlr.k_i = <1>;
		ctlr.k_d = <0>;
		ctlr.feed_forward = <1>;
		ctlr.integral_reset_value = <0>;
		ctlr.integral_cutoff = <0>;
		ctlr.integral_reset_threshold = <10>;
	};

	i2s0: i2s@11440000 {
		status = "okay";
	};

	i2s1: i2s@14D60000 {
		status = "okay";
	};

	i2s_dummy: dummy-i2s {
		compatible = "snd-soc-dummy";
		status = "okay";
	};

	codec_dummy: dummy-codec {
		compatible = "samsung,dummy-codec";
		status = "okay";
	};

	sound {
		compatible = "samsung,pacific-arizona";
		samsung,audio-cpu = <&i2s0>;
		samsung,audio-codec = <&audio_codec
				       &audio_codec /* NULL */
				       &audio_codec /* NULL */
				       &audio_codec
				       &audio_codec
				       &audio_codec
				       &audio_codec
				       &audio_codec
				       &audio_codec
				       &audio_codec>;
		clocks = <&clock 4300>;
		clock-names = "mclk";
		status = "okay";
	};

	hdmi {
		compatible = "samsung,pacific-hdmi";
		samsung,audio-cpu = <&i2s1>;
		samsung,audio-codec = <&codec_dummy>;
		status = "okay";
	};

	secgpio_dvs {
		compatible = "samsung,exynos5433-secgpio-dvs";
		status = "okay";
	};
	wlan {
		compatible = "samsung,brcm-wlan";
		gpios = <&gpj2 0 0x1 /* WLAN_EN */
			 &gpf3 1 0x1 /* WLAN HOST WAKE GPIO_0 */>;
		pinctrl-names = "default";
		pinctrl-0 = <&cfg_wlanen &wlan_host_wake>;
		status = "okay";
	};
	pcie@15700000 {
		compatible = "samsung,exynos5433-pcie", "snps,dw-pcie";
		gpios = <&gpr3 4 0x1 /* CLKREQ_EN */>,
		        <&gpr3 5 0x1 /* PERST */>,
				<&gpf3 1 0x1 /* WLAN HOST WAKE GPIO_0 */>;
		reg = <0x156b0000 0x1000
			0x15680000 0x1000
			0x156f0000 0x2000
			0x105c0000 0x4
			0x0c000000 0x1000>;
		interrupts = <0 245 0>;
		clocks = <&clock 2176>,		/* gate_pcie */
			 <&clock 2177>;		/* gate_pcie_phy */
		clock-names = "gate_pcie", "gate_pcie_phy";
		pinctrl-names = "default";
		pinctrl-0 = <&pcie_bus &cfg_wlanen &pcie_clkreq &pcie_wake &wlan_host_wake>;
		#address-cells = <3>;
		#size-cells = <2>;
		device_type = "pci";
		ranges = <0x00000800 0 0x0c000000 0x0c000000 0 0x00001000   /* configuration space */
			  0x81000000 0 0          0x0c001000 0 0x00010000   /* downstream I/O */
			  0x82000000 0 0x0c011000 0x0c011000 0 0x3feefff>; /* non-prefetchable memory */
		num-lanes = <1>;
		msi-base = <200>;
	};

	sec_thermistor {
		compatible = "samsung,sec-ap-thermistor";
		status = "okay";

		adc_array = <215 224 234 243 253 262 271 281 290 300
			309 322 335 348 361 374 389 404 418 433
			448 465 482 499 516 533 553 573 594 614
			634 658 682 705 729 753 780 807 833 860
			887 918 948 979 1009 1040 1076 1112 1147 1183
			1219 1257 1295 1332 1370 1408 1448 1489 1529 1570
			1610 1653 1696 1739 1782 1825 1869 1913 1957 2001
			2045 2090 2134 2179 2223 2268 2310 2352 2395 2437
			2479 2520 2561 2601 2642 2683 2720 2757 2793 2830
			2867 2903 2939 2975 3011 3047 3077 3106 3136 3165
			3195 3221 3247 3274 3300 3326 3348 3370 3392 3414
			3436>;
		temp_array = <900 890 880 870 860 850 840 830 820 810
			800 790 780 770 760 750 740 730 720 710
			700 690 680 670 660 650 640 630 620 610
			600 590 580 570 560 550 540 530 520 510
			500 490 480 470 460 450 440 430 420 410
			400 390 380 370 360 350 340 330 320 310
			300 290 280 270 260 250 240 230 220 210
			200 190 180 170 160 150 140 130 120 110
			100 90 80 70 60 50 40 30 20 10
			0 (-10) (-20) (-30) (-40) (-50) (-60) (-70) (-80) (-90)
			(-100)(-110)(-120)(-130)(-140)(-150)(-160)(-170)(-180)(-190)
			(-200)>;

		io-channels = <&exynos_adc 0>;
		io-channel-names = "adc-ap-temp";
		io-channel-ranges;
	};

	argos {
		compatible = "samsung,argos";
		#address-cells = <1>;
		 /*  The device number should be assigned for each device, e.g. "boot_device@1" and "boot_device@2".
		   Duplicated number is not allowed. Please refer the below example. */

		 boot_device@1 {
			net_boost,label="IPC";
			net_boost,node="rmnet0 rmnet1 rmnet2 rmnet3 rmnet4 rmnet5 rmnet6 rmnet7";
			net_boost,table_size = <2>;
			net_boost,table= <100 0 0 1100000 0 825000 100000 0 1 0
					  130 0 0 1300000 0 825000 100000 0 1 0>;
		};
		/* Example
		   boot_device@2 {
			net_boost,label="WIFI";
			net_boost,node="wlan0";
			net_boost,table_size = <2>;
					 <Throughput(Mbps) ARM_min ARM_max KFC_min KFC_max MIF INT Task Irq HMPBoost>
			net_boost,table= <100 1000000 1000000 800000 800000 512000 256000 0 0 0
					  300 1500000 1500000 1000000 1000000 826000 413000 1 0 0>;
		};
		*/
		boot_device@2 {
			net_boost,label="EMMC";
			net_boost,node="";
			net_boost,sysnode="/sys/class/mmc_host/mmc0/trans_count";
			net_boost,table_size = <1>;
 			/*               <Throughput(Mbps) ARM_min ARM_max KFC_min KFC_max MIF INT Task Irq HMPBoost> */
			net_boost,table= <64 0 0 1300000 0 825000 400000 0 0 0>;
		};
		boot_device@3 {
			net_boost,label="WIFI";
			net_boost,node="wlan0";
			net_boost,table_size = <3>;
			/*		 <Throughput ARM_min ARM_max KFC_min KFC_max MIF INT Task Irq HMPBoost> */
			net_boost,table= <60 1000000 0 800000 0 0 200000 0 0 0
					  100 1200000 0 1000000 0 0 200000 0 0 1
					  180 1700000 0 1100000 0 543000 267000 1 1 1>;
		};
		boot_device@4 {
			net_boost,label="P2P";
			net_boost,node="p2p-wlan0-0";
			net_boost,table_size = <3>;
			/*		 <Throughput ARM_min ARM_max KFC_min KFC_max MIF INT Task Irq HMPBoost> */
			net_boost,table= <30 1000000 0 800000 0 0 200000 0 0 0
					  50 1200000 0 1000000 0 0 200000 0 0 0
					  90 1700000 0 1100000 0 543000 267000 0 0 1>;
		};
		boot_device@5 {
			net_boost,label="CLAT";
			net_boost,node="clat clat4 v4-rmnet0 v4-rmnet1 v4-rmnet2 v4-rmnet3 v4-rmnet4 v4-rmnet5 v4-rmnet6 v4-rmnet7";
			net_boost,table_size = <3>;
			/*		 <Throughput ARM_min ARM_max KFC_min KFC_max MIF INT Task Irq HMPBoost> */
			net_boost,table= <120 1400000 0 0 0 825000 0 0 0 0
					  130 1500000 0 0 0 825000 0 0 0 0
					  150 1600000 0 0 0 825000 0 0 0 0>;
		};
	};

	input_booster {
		status = "okay";
		compatible = "input_booster";
		#address-cells = <1>;
		#size-cells = <0>;

		booster_key@1 {
			input_booster,label = "TOUCH";
			input_booster,type = <0>;	/* BOOSTER_DEVICE_TOUCH */

			input_booster,levels = <1 2 3 4 5 9 10>;

			/* Frequency table */
			/* for level	:		1_Head, 2_Tail, 3_Head, 4_Head/Tail, 5_Head, 9_Head, 9_Tail */
			input_booster,cpu_freqs = <1200000 0 0 0 1000000 1900000 1500000>;
			input_booster,hmp_boost = <1 0 0 0 1 1 1>;
			input_booster,kfc_freqs = <1000000 1300000 1300000 1300000 800000 1300000 1300000>;
			input_booster,mif_freqs = <667000 413000 413000 667000 667000 825000 825000>;
			input_booster,int_freqs = <334000 133000 133000 133000 334000 400000 400000>;

			/* Time table */
			input_booster,head_times = <130 130 130 130 120 500 0>;
			input_booster,tail_times = <500 500 500 200 500 1000 0>;
			input_booster,phase_times = <0 0 0 0 20 0 0>;
		};
		booster_key@2 {
			input_booster,label = "PEN";
			input_booster,type = <1>;	/* BOOSTER_DEVICE_PEN */

			input_booster,levels = <1 2 3 4 5 9 10>;

			/* Frequency table */
			/* for level	:		1_Head, 2_Tail, 3_Head, 4_Head/Tail, 5_Head, 9_Head, 9_Tail */
			input_booster,cpu_freqs = <1200000 0 0 0 1000000 1900000 1500000>;
			input_booster,hmp_boost = <1 0 0 0 1 1 1>;
			input_booster,kfc_freqs = <1000000 1300000 1300000 1300000 800000 1300000 1300000>;
			input_booster,mif_freqs = <667000 413000 413000 667000 667000 825000 825000>;
			input_booster,int_freqs = <334000 133000 133000 133000 334000 400000 400000>;

			/* Time table */
			input_booster,head_times = <130 130 130 130 120 500 0>;
			input_booster,tail_times = <500 500 500 200 500 1000 0>;
			input_booster,phase_times = <0 0 0 0 20 0 0>;
		};
		booster_key@3 {
			input_booster,label = "KEY";
			input_booster,type = <2>;	/* BOOSTER_DEVICE_KEY */

			input_booster,levels = <1>;

			/* Frequency table */
			/* for level	:	1_Head */
			input_booster,cpu_freqs = <1200000>;
			input_booster,hmp_boost = <1>;
			input_booster,kfc_freqs = <0>;
			input_booster,mif_freqs = <0>;
			input_booster,int_freqs = <0>;

			/* Time table */
			input_booster,head_times = <500>;
			input_booster,tail_times = <500>;
			input_booster,phase_times = <0>;
		};
		/* If you need to add new key type, add it this position */
	};
};
